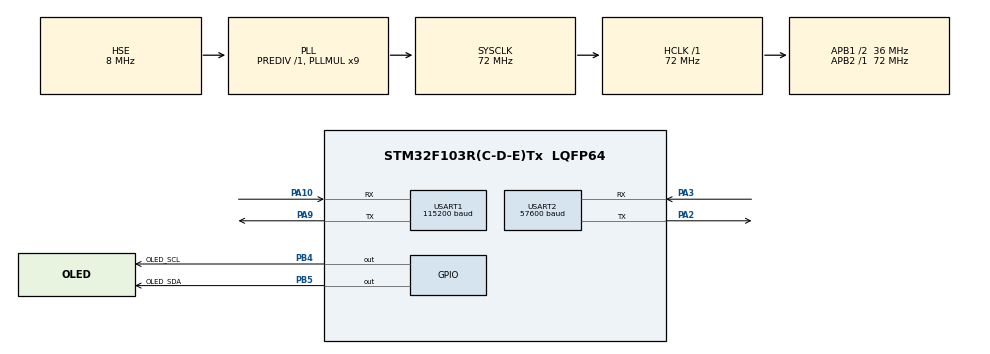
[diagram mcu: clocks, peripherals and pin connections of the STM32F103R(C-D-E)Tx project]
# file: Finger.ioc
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Mcu.Family=STM32F1
Mcu.Name=STM32F103R(C-D-E)Tx
Mcu.Package=LQFP64
NVIC.PriorityGroup=NVIC_PRIORITYGROUP_4
NVIC.USART1_IRQn=true\:0\:0\:true\:false\:true\:true\:true\:true
NVIC.USART2_IRQn=true\:0\:0\:true\:false\:true\:true\:true\:true
PA10.Mode=Asynchronous
PA10.Signal=USART1_RX
PA13.Mode=Serial_Wire
PA13.Signal=SYS_JTMS-SWDIO
PA14.Mode=Serial_Wire
PA14.Signal=SYS_JTCK-SWCLK
PA2.Mode=Asynchronous
PA2.Signal=USART2_TX
PA3.Mode=Asynchronous
PA3.Signal=USART2_RX
PA9.Mode=Asynchronous
PA9.Signal=USART1_TX
PB4.GPIO_Label=OLED_SCL
PB4.GPIO_ModeDefaultOutputPP=GPIO_MODE_OUTPUT_OD
PB4.GPIO_PuPd=GPIO_PULLUP
PB4.GPIO_Speed=GPIO_SPEED_FREQ_HIGH
PB4.Signal=GPIO_Output
PB5.GPIO_Label=OLED_SDA
PB5.GPIO_ModeDefaultOutputPP=GPIO_MODE_OUTPUT_OD
PB5.GPIO_PuPd=GPIO_PULLUP
PB5.GPIO_Speed=GPIO_SPEED_FREQ_HIGH
PB5.Signal=GPIO_Output
PC14-OSC32_IN.Mode=LSE-External-Oscillator
PC14-OSC32_IN.Signal=RCC_OSC32_IN
PC15-OSC32_OUT.Mode=LSE-External-Oscillator
PC15-OSC32_OUT.Signal=RCC_OSC32_OUT
PD0-OSC_IN.Mode=HSE-External-Oscillator
PD0-OSC_IN.Signal=RCC_OSC_IN
PD1-OSC_OUT.Mode=HSE-External-Oscillator
PD1-OSC_OUT.Signal=RCC_OSC_OUT
ProjectManager.HeapSize=0x200
ProjectManager.StackSize=0x400
ProjectManager.TargetToolchain=MDK-ARM V5.32
RCC.AHBFreq_Value=72000000
RCC.APB1CLKDivider=RCC_HCLK_DIV2
RCC.APB1Freq_Value=36000000
RCC.APB1TimFreq_Value=72000000
RCC.APB2Freq_Value=72000000
RCC.APB2TimFreq_Value=72000000
RCC.HCLKFreq_Value=72000000
RCC.PLLMUL=RCC_PLL_MUL9
RCC.PLLSourceVirtual=RCC_PLLSOURCE_HSE
RCC.SYSCLKFreq_VALUE=72000000
RCC.SYSCLKSource=RCC_SYSCLKSOURCE_PLLCLK
RCC.USBFreq_Value=72000000
USART1.BaudRate=115200
USART1.StopBits=STOPBITS_1
USART1.VirtualMode=VM_ASYNC
USART2.BaudRate=57600
USART2.StopBits=STOPBITS_2
USART2.VirtualMode=VM_ASYNC
board=custom

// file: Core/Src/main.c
/* USER CODE BEGIN Header */
/**
 ******************************************************************************
 * @file           : main.c
 * @brief          : Main program body
 ******************************************************************************
 * @attention
 *
 * Copyright (c) 2024 STMicroelectronics.
 * All rights reserved.
 *
 * This software is licensed under terms that can be found in the LICENSE file
 * in the root directory of this software component.
 * If no LICENSE file comes with this software, it is provided AS-IS.
 *
 ******************************************************************************
 */
/* USER CODE END Header */
#include "main.h"
#include "usart.h"
#include "gpio.h"

/* USER CODE BEGIN Includes */
#include "string.h"
#include "oled.h"
#include "as608.h"
#include "stdio.h"
/* USER CODE END Includes */

/* USER CODE BEGIN PV */

char str[50]; // 在OLED上显示的字符串
Oled oled;	  // OLED模块
AS608 as608;  // 指针模块
uint8_t rx_data[3], tx_data[3] = {0x01, 0x02};
/* USER CODE END PV */

void SystemClock_Config(void);

/* USER CODE BEGIN 0 */

/// @brief 串口接收中断
void HAL_UART_RxCpltCallback(UART_HandleTypeDef *huart)
{
	if (huart->Instance == USART1) // 如果是串口1(语音模块发过来的数据)
	{
		HAL_UART_Receive_IT(&huart1, rx_data, 3);
	}
}

/* USER CODE END 0 */

int main(void)
{

	/* MCU Configuration--------------------------------------------------------*/

	/* Reset of all peripherals, Initializes the Flash interface and the Systick. */
	HAL_Init();

	/* Configure the system clock */
	SystemClock_Config();

	/* Initialize all configured peripherals */
	MX_GPIO_Init();
	MX_USART1_UART_Init();
	MX_USART2_UART_Init();
	/* USER CODE BEGIN 2 */
	OLED_Init(&oled);
	AS608_Init(&as608);
	HAL_UART_Receive_IT(&huart1, rx_data, 3);
	/* USER CODE END 2 */

	/* Infinite loop */
	while (1)
	{

		/* USER CODE BEGIN 3 */
		if (rx_data[0] == 0x0a && rx_data[1] == 0x0b) // 如果标头正确，说明数据正确
		{
			switch (rx_data[2])
			{
			case 0x00: // 录指纹
				Add_FR(0);
				tx_data[2] = 0x00;
				HAL_UART_Transmit(&huart1, tx_data, 3, 200); // 语音播报录入指纹完毕
				break;
			case 0x01: // 刷指纹
				if (as608.Press_FR(&as608.result_) == 0x00)
					tx_data[2] = 0x01; // 指纹正确
				else
					tx_data[2] = 0x02; // 指纹错误

				HAL_UART_Transmit(&huart1, tx_data, 3, 200); // 语音播报指纹验证结果
				break;
			default:
				break;
			}
			memset(rx_data, 0, sizeof(tx_data));
		}
		HAL_Delay(1000);
	}
	/* USER CODE END 3 */
}

void SystemClock_Config(void)
{
	RCC_OscInitTypeDef RCC_OscInitStruct = {0};
	RCC_ClkInitTypeDef RCC_ClkInitStruct = {0};

	/** Initializes the RCC Oscillators according to the specified parameters
	 * in the RCC_OscInitTypeDef structure.
	 */
	RCC_OscInitStruct.OscillatorType = RCC_OSCILLATORTYPE_HSE;
	RCC_OscInitStruct.HSEState = RCC_HSE_ON;
	RCC_OscInitStruct.HSEPredivValue = RCC_HSE_PREDIV_DIV1;
	RCC_OscInitStruct.HSIState = RCC_HSI_ON;
	RCC_OscInitStruct.PLL.PLLState = RCC_PLL_ON;
	RCC_OscInitStruct.PLL.PLLSource = RCC_PLLSOURCE_HSE;
	RCC_OscInitStruct.PLL.PLLMUL = RCC_PLL_MUL9;
	if (HAL_RCC_OscConfig(&RCC_OscInitStruct) != HAL_OK)
	{
		Error_Handler();
	}

	/** Initializes the CPU, AHB and APB buses clocks
	 */
	RCC_ClkInitStruct.ClockType = RCC_CLOCKTYPE_HCLK | RCC_CLOCKTYPE_SYSCLK | RCC_CLOCKTYPE_PCLK1 | RCC_CLOCKTYPE_PCLK2;
	RCC_ClkInitStruct.SYSCLKSource = RCC_SYSCLKSOURCE_PLLCLK;
	RCC_ClkInitStruct.AHBCLKDivider = RCC_SYSCLK_DIV1;
	RCC_ClkInitStruct.APB1CLKDivider = RCC_HCLK_DIV2;
	RCC_ClkInitStruct.APB2CLKDivider = RCC_HCLK_DIV1;

	if (HAL_RCC_ClockConfig(&RCC_ClkInitStruct, FLASH_LATENCY_2) != HAL_OK)
	{
		Error_Handler();
	}
}

void Error_Handler(void)
{
	__disable_irq();
	while (1)
	{
	}
}
